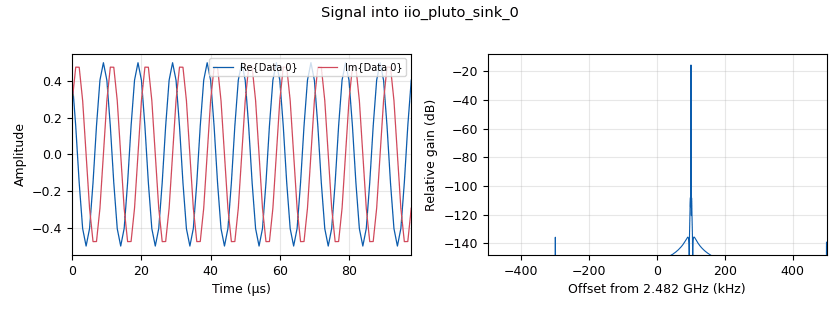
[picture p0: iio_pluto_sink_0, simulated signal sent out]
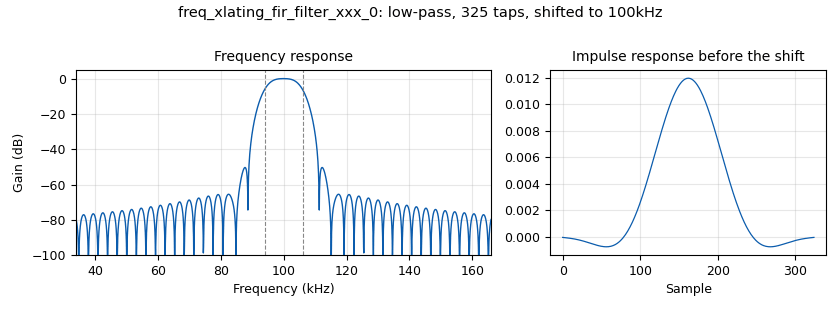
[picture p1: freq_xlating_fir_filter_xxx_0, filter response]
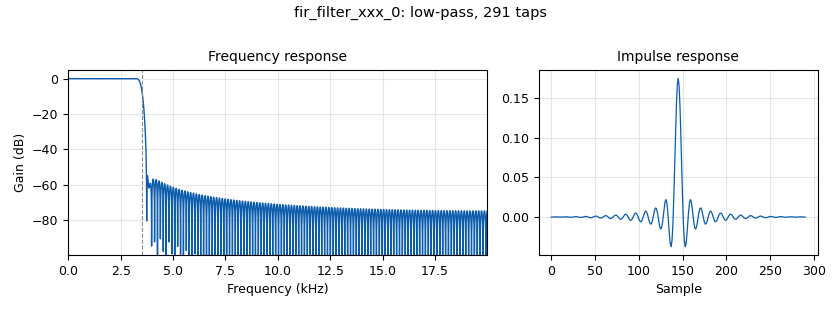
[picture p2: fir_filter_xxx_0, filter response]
options:
  parameters:
    author: SDR Doppler Radar Project Team
    description: CW Doppler radar and speed camera on the ADALM-PLUTO
    generate_options: qt_gui
    id: doppler_radar
    output_language: python
    title: SDR Doppler Radar - Speed Camera (PlutoSDR)
  states: {}

blocks:
- name: samp_rate
  id: variable
  parameters:
    value: '1000000'
  states: {}
- name: tone_hz
  id: variable
  parameters:
    value: '100000'
  states: {}
- name: fs_doppler
  id: variable
  parameters:
    value: '8000'
  states: {}
- name: arduino_port
  id: variable
  parameters:
    value: '''auto'''
  states: {}
- name: pluto_uri
  id: variable
  parameters:
    value: '''ip:192.168.2.1'''
  states: {}
- name: freq_mhz
  id: variable_qtgui_range
  parameters:
    label: Frequency (MHz)
    value: '2482'
    start: '2400'
    stop: '2483'
    step: '1'
    outputmsgname: value
    showports: 'False'
    gui_hint: 0,0,1,1
  states: {}
- name: max_kmh
  id: variable_qtgui_range
  parameters:
    label: Max speed (km/h)
    value: '60'
    start: '10'
    stop: '740'
    step: '10'
    outputmsgname: value
    showports: 'False'
    gui_hint: 0,1,1,1
  states: {}
- name: limit_kmh
  id: variable_qtgui_range
  parameters:
    label: Speed limit - capture above (km/h)
    value: '10'
    start: '5'
    stop: '300'
    step: '5'
    outputmsgname: value
    showports: 'False'
    gui_hint: 1,0,1,1
  states: {}
- name: rx_gain
  id: variable_qtgui_range
  parameters:
    label: RX gain (dB)
    value: '30'
    start: '0'
    stop: '70'
    step: '1'
    outputmsgname: value
    showports: 'False'
    gui_hint: 1,1,1,1
  states: {}
- name: tx_atten
  id: variable_qtgui_range
  parameters:
    label: 'TX attenuation (dB): higher = shorter range'
    value: '30'
    start: '0'
    stop: '89'
    step: '1'
    outputmsgname: value
    showports: 'False'
    gui_hint: 2,0,1,1
  states: {}
- name: min_signal
  id: variable_qtgui_range
  parameters:
    label: 'Min signal (dB): higher = only close targets'
    value: '35'
    start: '10'
    stop: '50'
    step: '1'
    outputmsgname: value
    showports: 'False'
    gui_hint: 2,1,1,1
  states: {}
- name: info
  id: variable_qtgui_label
  parameters:
    label: 'Radar:  '
    value: '''%.0f MHz | resolution %.2f km/h | max possible %.0f km/h'' % (freq_mhz, 1.953125*3e8/(2*freq_mhz*1e6)*3.6, 3400*3e8/(2*freq_mhz*1e6)*3.6)'
    type: string
    gui_hint: 3,0,1,2
  states: {}
- name: analog_sig_source_x_0
  id: analog_sig_source_x
  parameters:
    type: complex
    samp_rate: samp_rate
    waveform: analog.GR_COS_WAVE
    freq: tone_hz
    amp: '0.5'
    offset: '0'
    phase: '0'
  states: {}
- name: iio_pluto_sink_0
  id: iio_pluto_sink
  parameters:
    type: fc32
    uri: pluto_uri
    frequency: int(freq_mhz*1e6)
    samplerate: samp_rate
    buffer_size: '32768'
    cyclic: 'False'
    attenuation1: tx_atten
    len_tag_key: ''''''
    filter_source: '''Auto'''
    filter: ''''''
    bandwidth: samp_rate
  states: {}
- name: iio_pluto_source_0
  id: iio_pluto_source
  parameters:
    type: fc32
    uri: pluto_uri
    frequency: int(freq_mhz*1e6)
    samplerate: samp_rate
    buffer_size: '32768'
    quadrature: 'True'
    rfdc: 'True'
    bbdc: 'True'
    gain1: '''manual'''
    manual_gain1: rx_gain
    len_tag_key: ''''''
    filter_source: '''Auto'''
    filter: ''''''
    bandwidth: samp_rate
  states: {}
- name: freq_xlating_fir_filter_xxx_0
  id: freq_xlating_fir_filter_xxx
  parameters:
    type: ccc
    decim: '25'
    taps: firdes.low_pass_2(1.0, samp_rate, 6000, 14000, 100)
    center_freq: tone_hz
    samp_rate: samp_rate
  states: {}
- name: fir_filter_xxx_0
  id: fir_filter_xxx
  parameters:
    type: ccc
    decim: '5'
    taps: firdes.low_pass_2(1.0, samp_rate/25, 3500, 500, 80)
  states: {}
- name: epy_block_0
  id: epy_block
  parameters:
    _source_code: |
      """
      Doppler Speed Camera - GNU Radio embedded Python block (source of the epy_block in doppler_radar.grc).

      Input : complex Doppler signal at 8 kS/s (the received CW tone mixed to 0 Hz and decimated).
      Display: live_text() and held_text() return the readouts; Function Probe blocks poll them for QT GUI Labels.
      Processing is shared with the Python radar (../doppler_core.py): clutter map, mirror test,
      sub-bin peak, pass tracking, capture over the speed limit, speed_log.csv, Arduino LED/buzzer.
      """
      import os
      import sys
      import numpy as np
      from gnuradio import gr


      def _import_core():
          """doppler_core.py lives in SDR_Radar_Deploy, one folder above this flowgraph."""
          try:
              here = os.path.dirname(os.path.abspath(__file__))
          except NameError:                                   # GRC loads the block source without __file__
              here = os.getcwd()
          for d in (here, os.path.dirname(here), os.getcwd(), os.path.dirname(os.getcwd())):
              if os.path.exists(os.path.join(d, "doppler_core.py")):
                  if d not in sys.path:
                      sys.path.insert(0, d)
                  import doppler_core
                  return doppler_core, d
          raise ImportError("doppler_core.py not found: keep the gnuradio folder inside SDR_Radar_Deploy")


      CLIP_LEVEL = 0.9    # leakage tone above 90 % of ADC full scale = receiver overload


      class blk(gr.sync_block):
          """Doppler Speed Camera: speed in km/h, last-speed hold, capture over the limit, log, Arduino"""

          def __init__(self, freq_mhz=2482.0, max_kmh=60.0, limit_kmh=10.0, alarm_kmh=10.0, arduino_port="auto",
                       pluto_uri="ip:192.168.2.1", min_signal_db=15.0):
              gr.sync_block.__init__(self, name="Doppler Speed Camera", in_sig=[np.complex64], out_sig=None)
              # GRC updates these attributes when the sliders move; work() applies them
              self.freq_mhz, self.max_kmh, self.limit_kmh = freq_mhz, max_kmh, limit_kmh
              self.alarm_kmh, self.arduino_port, self.pluto_uri = alarm_kmh, arduino_port, pluto_uri
              self.min_signal_db = min_signal_db
              self.dc, base = _import_core()
              self.log_file = os.path.join(base, "speed_log.csv")
              self.det = self.cam = None
              self.applied = None
              self.buf = np.zeros(0, np.complex64)
              self.kmh = self.snr = 0.0                       # latest frame, for the display
              self.level = 0.0                                # TX->RX leakage level (1.0 = ADC full scale)
              self.arduino = None

          # --- GNU Radio start/stop --------------------------------------------------------------------
          def start(self):
              self._apply_settings()
              port = str(self.arduino_port).strip()
              if port.lower() == "auto":
                  try:
                      from arduino_port import find_arduino_port
                      port = find_arduino_port() or ""
                  except ImportError:
                      port = ""
              if port and port.lower() != "none":
                  try:
                      import serial
                      import time
                      self.arduino = serial.Serial(port, 115200, timeout=0)
                      time.sleep(2)                           # Nano resets when the port opens
                      print(f"Doppler camera: sending speed to Arduino on {port}")
                  except Exception as e:                      # radar keeps running without the display
                      print(f"Doppler camera: Arduino on {port} not available ({e})")
                      self.arduino = None
              return True

          def stop(self):
              if self.cam:
                  self.cam.finish()                           # log a pass still in progress
              if self.arduino:
                  try:
                      self.arduino.write(self.cam.arduino_line(0, 0, self.alarm_kmh).encode())
                      self.arduino.close()
                  except Exception:
                      pass
                  self.arduino = None
              self._mute_tx()
              return True

          def _mute_tx(self):
              """The PlutoSDR Sink leaves the TX LO on when the flowgraph stops: set -89 dB so nothing radiates."""
              try:
                  import iio
                  phy = iio.Context(str(self.pluto_uri)).find_device("ad9361-phy")
                  phy.find_channel("voltage0", True).attrs["hardwaregain"].value = "-89"
                  print("Doppler camera: transmitter muted (-89 dB)")
              except Exception as e:
                  print(f"Doppler camera: could not mute the transmitter ({e})")

          # --- settings from the GUI sliders ------------------------------------------------------------
          def _apply_settings(self):
              fc = float(self.freq_mhz) * 1e6
              settings = (fc, float(self.max_kmh), float(self.limit_kmh), float(self.min_signal_db))
              if settings == self.applied:
                  return
              dc = self.dc
              max_doppler = dc.kmh_to_doppler(min(float(self.max_kmh), dc.max_speed_kmh(fc)), fc)
              if self.det is None:
                  self.det = dc.Detector(max_doppler, float(self.min_signal_db))
                  self.cam = dc.SpeedCamera(fc, float(self.limit_kmh), self.log_file)
              else:
                  if self.applied[0] != fc:
                      self.det.reset()                        # new frequency: learn the background again
                  self.det.set_max_doppler(max_doppler)
                  self.det.detect_db = float(self.min_signal_db)
                  self.cam.fc, self.cam.limit = fc, float(self.limit_kmh)
              self.applied = settings
              print(f"Doppler camera: {fc / 1e6:g} MHz, speeds up to "
                    f"{dc.doppler_to_kmh(self.det.max_doppler_hz, fc):.0f} km/h "
                    f"(max possible {dc.max_speed_kmh(fc):.0f}), resolution "
                    f"{dc.doppler_to_kmh(dc.FS_DOPPLER / dc.NFFT, fc):.2f} km/h, limit {float(self.limit_kmh):g} km/h, "
                    f"min signal {float(self.min_signal_db):g} dB")

          # --- processing --------------------------------------------------------------------------------
          def work(self, input_items, output_items):
              self._apply_settings()
              dc, n = self.dc, len(input_items[0])
              self.buf = np.concatenate([self.buf, input_items[0]])
              while len(self.buf) >= dc.FRAME:
                  frame, self.buf = self.buf[:dc.FRAME], self.buf[dc.FRAME:]
                  p_db, thr_db, noise_db, k, snr, confirmed = self.det(frame.astype(complex))
                  kmh, proximity, ended = self.cam.update(self.det, p_db, k, snr, confirmed)
                  self.kmh, self.snr = kmh, snr
                  self.level = float(np.abs(frame).mean())
                  if self.arduino:
                      try:
                          self.arduino.write(self.cam.arduino_line(kmh, proximity, float(self.alarm_kmh)).encode())
                      except Exception:
                          self.arduino = None
              return n

          # --- display (polled by Function Probe blocks) ---------------------------------------------------
          def live_text(self):
              # receiver overload: more TX power or RX gain than the ADC can take
              warn = "   !! CLIPPING: raise TX attenuation or lower RX gain" if self.level > CLIP_LEVEL else ""
              if self.det is None or not self.det.ready:
                  return "learning background ... stand still" + warn
              if self.kmh == 0:
                  return "no target" + warn
              way = "approaching" if self.kmh > 0 else "receding"
              flag = "   OVER LIMIT" if abs(self.kmh) > float(self.limit_kmh) else ""
              return f"{abs(self.kmh):.1f} km/h {way}   (signal {self.snr:.0f} dB){flag}{warn}"

          def held_text(self):
              cam = self.cam
              if cam is None or cam.last_kmh is None:
                  return "--   (no pass yet)"
              way = "approaching" if cam.last_kmh > 0 else "receding"
              tag = f"   CAPTURED - OVER {float(self.limit_kmh):g} km/h" if cam.last_captured else ""
              return (f"{abs(cam.last_kmh):.1f} km/h {way} at {cam.last_time}{tag}   |   "
                      f"top {cam.top_kmh:.1f} km/h, captured {cam.n_captured}")
    freq_mhz: freq_mhz
    max_kmh: max_kmh
    limit_kmh: limit_kmh
    alarm_kmh: max(limit_kmh, 10)
    arduino_port: arduino_port
    pluto_uri: pluto_uri
    min_signal_db: min_signal
  states: {}
- name: live
  id: variable_function_probe
  parameters:
    block_id: epy_block_0
    function_name: live_text
    poll_rate: '5'
    value: '''starting ...'''
  states: {}
- name: live_label
  id: variable_qtgui_label
  parameters:
    label: 'LIVE SPEED:  '
    value: live
    type: string
    gui_hint: 4,0,1,2
  states: {}
- name: held
  id: variable_function_probe
  parameters:
    block_id: epy_block_0
    function_name: held_text
    poll_rate: '5'
    value: '''starting ...'''
  states: {}
- name: held_label
  id: variable_qtgui_label
  parameters:
    label: 'LAST SPEED (held):  '
    value: held
    type: string
    gui_hint: 5,0,1,2
  states: {}
- name: qtgui_freq_sink_x_0
  id: qtgui_freq_sink_x
  parameters:
    type: complex
    name: '''Doppler spectrum (Hz):  km/h = Hz x c / (2 fc) x 3.6'''
    fftsize: '4096'
    fc: '0'
    bw: fs_doppler
    ymax: '-20'
    grid: 'True'
    average: '0.2'
    fftavg: '1'
    gui_hint: 6,0,1,2
    label1: '''Doppler'''
    tr_tag: ''''''
  states: {}
- name: qtgui_waterfall_sink_x_0
  id: qtgui_waterfall_sink_x
  parameters:
    type: complex
    name: '''Doppler waterfall'''
    fftsize: '1024'
    fc: '0'
    bw: fs_doppler
    int_min: '-100'
    int_max: '-20'
    gui_hint: 7,0,1,2
  states: {}

connections:
- [analog_sig_source_x_0, '0', iio_pluto_sink_0, '0']
- [iio_pluto_source_0, '0', freq_xlating_fir_filter_xxx_0, '0']
- [freq_xlating_fir_filter_xxx_0, '0', fir_filter_xxx_0, '0']
- [fir_filter_xxx_0, '0', epy_block_0, '0']
- [fir_filter_xxx_0, '0', qtgui_freq_sink_x_0, '0']
- [fir_filter_xxx_0, '0', qtgui_waterfall_sink_x_0, '0']

metadata:
  file_format: 1
  grc_version: 3.10.12.0
